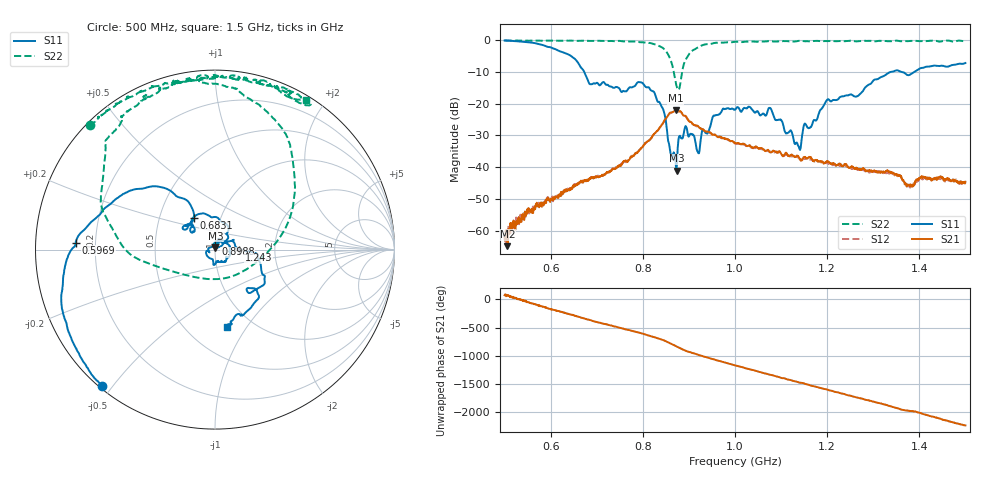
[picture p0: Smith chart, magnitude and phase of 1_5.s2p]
!Agilent Technologies,E8364B,US42250235,A.06.04.32
!Agilent E8364B: A.06.04.32
!Date: Friday, January 15, 2021 16:17:41
!Correction: S11(Full 2 Port(1,2)) S21(Full 2 Port(1,2)) S12(Full 2 Port(1,2)) S22(Full 2 Port(1,2))
!S2P File: Measurements: S11, S21, S12, S22:
# Hz S  dB  R 50
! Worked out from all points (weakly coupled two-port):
!   1601 points, 500 MHz to 1.5 GHz, reference 50 ohm
!   highest |S21| = -22.12 dB at 871.2 MHz (marker M1); lowest = -64.8 dB at 506.2 MHz (marker M2)
!   lowest |S11| = -41.1 dB at 873.1 MHz (marker M3), VSWR 1.02, Z = 50.2 + j0.851 ohm
!   |S11| at or under -10 dB: 672.7 MHz to 1.339 GHz (666.5 MHz wide, 66.3 % of centre); 1.361 GHz to 1.389 GHz (28.52 MHz wide, 2.07 % of centre)
!   |S22| runs from -15.7 to -0.1 dB; largest |S21 - S12| = 0.0021
!   S11 on the Smith chart (normalised r, x): 500 MHz: 0.01, -0.47; 596.9 MHz: 0.13, +0.02; 683.1 MHz: 0.75, +0.28; 898.8 MHz: 1.00, +0.06; 1.243 GHz: 1.31, -0.01; 1.5 GHz: 0.76, -0.81
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5e8  -0.12 -129.6  -61.74 75.6  -62.80 81.1  -0.16 135.1
5.0625e8  -0.16 -132.1  -64.80 71.2  -62.64 61.2  -0.19 134.2
5.96875e8  -2.19 177.1  -50.40 -166.0  -50.01 -163.2  -0.16 124.5
6.66875e8  -8.82 125.5  -44.28 36.4  -44.46 34.9  -0.22 114.9
6.83125e8  -13.51 123.5  -43.75 0.1  -43.77 -0.4  -0.26 114.9
7.95e8  -13.27 113.7  -34.14 125.6  -34.23 123.9  -0.67 91.6
8.3375e8  -19.43 53.7  -28.12 29.2  -28.23 28.6  -1.73 69.0
8.4625e8  -22.79 38.2  -25.44 -5.8  -25.58 -7.4  -2.81 55.0
8.575e8  -33.18 36.3  -23.06 -47.6  -23.22 -48.2  -5.30 35.2
8.7125e8  -38.70 40.7  -22.12 -104.3  -22.23 -104.1  -13.24 -26.4
8.73125e8  -41.08 73.5  -22.23 -112.3  -22.29 -112.3  -14.46 -44.1
8.9875e8  -30.24 86.4  -25.31 155.3  -25.11 154.6  -4.78 169.3
9.2e8  -35.49 69.8  -27.15 100.6  -27.28 101.0  -2.26 143.4
9.55e8  -23.74 64.6  -29.75 17.4  -29.82 16.7  -0.93 125.3
1e9  -21.90 -7.0  -32.51 -86.1  -32.45 -85.9  -0.54 114.0
1.07625e9  -21.34 -95.3  -35.26 106.4  -35.07 107.8  -0.36 103.4
1.138125e9  -33.38 85.4  -36.66 -27.4  -36.93 -28.3  -0.25 92.9
1.166875e9  -26.72 61.4  -37.48 -91.3  -37.57 -88.9  -0.37 89.6
1.199375e9  -18.86 27.9  -38.15 -154.4  -38.70 -155.5  -0.34 88.3
1.243125e9  -17.41 -1.5  -39.50 109.2  -39.85 109.1  -0.28 81.9
1.33375e9  -10.28 -27.6  -41.15 -81.7  -41.89 -80.2  -0.39 74.7
1.5e9  -7.22 -81.5  -44.53 -69.8  -44.92 -73.0  -0.24 58.7
